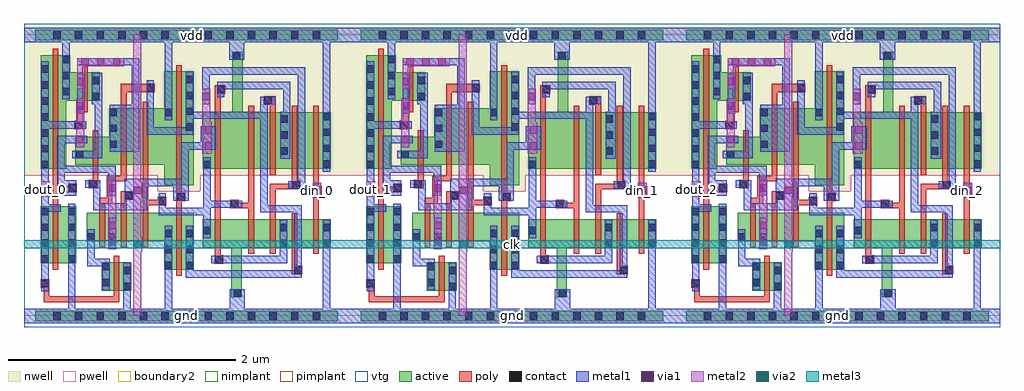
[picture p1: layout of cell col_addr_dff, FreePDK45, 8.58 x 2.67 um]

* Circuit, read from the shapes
.subckt col_addr_dff clk din_0 din_1 din_2 dout_0 dout_1 dout_2 gnd vdd
M1 gnd n1 dout_0 gnd nfet w=0.5u l=0.05u
M2 n1 n2 n3 gnd nfet w=0.25u l=0.05u
M3 gnd dout_0 n3 gnd nfet w=0.25u l=0.05u
M4 n4 clk n1 gnd nfet w=0.25u l=0.05u
M5 gnd n5 n4 gnd nfet w=0.25u l=0.05u
M6 n2 clk gnd gnd nfet w=0.5u l=0.05u
M7 gnd n6 n5 gnd nfet w=0.25u l=0.05u
M8 n7 n5 gnd gnd nfet w=0.25u l=0.05u
M9 n6 clk n7 gnd nfet w=0.25u l=0.05u
M10 n8 n2 n6 gnd nfet w=0.25u l=0.05u
M11 gnd din_0 n8 gnd nfet w=0.25u l=0.05u
M12 gnd n9 dout_1 gnd nfet w=0.5u l=0.05u
M13 n9 n10 n11 gnd nfet w=0.25u l=0.05u
M14 gnd dout_1 n11 gnd nfet w=0.25u l=0.05u
M15 n12 clk n9 gnd nfet w=0.25u l=0.05u
M16 gnd n13 n12 gnd nfet w=0.25u l=0.05u
M17 n10 clk gnd gnd nfet w=0.5u l=0.05u
M18 gnd n14 n13 gnd nfet w=0.25u l=0.05u
M19 n15 n13 gnd gnd nfet w=0.25u l=0.05u
M20 n14 clk n15 gnd nfet w=0.25u l=0.05u
M21 n16 n10 n14 gnd nfet w=0.25u l=0.05u
M22 gnd din_1 n16 gnd nfet w=0.25u l=0.05u
M23 gnd n17 dout_2 gnd nfet w=0.5u l=0.05u
M24 n17 n18 n19 gnd nfet w=0.25u l=0.05u
M25 gnd dout_2 n19 gnd nfet w=0.25u l=0.05u
M26 n20 clk n17 gnd nfet w=0.25u l=0.05u
M27 gnd n21 n20 gnd nfet w=0.25u l=0.05u
M28 n18 clk gnd gnd nfet w=0.5u l=0.05u
M29 gnd n22 n21 gnd nfet w=0.25u l=0.05u
M30 n23 n21 gnd gnd nfet w=0.25u l=0.05u
M31 n22 clk n23 gnd nfet w=0.25u l=0.05u
M32 n24 n18 n22 gnd nfet w=0.25u l=0.05u
M33 gnd din_2 n24 gnd nfet w=0.25u l=0.05u
M34 vdd n1 dout_0 vdd pfet w=1u l=0.05u
M35 n25 dout_0 vdd vdd pfet w=0.25u l=0.05u
M36 n1 clk n25 vdd pfet w=0.25u l=0.05u
M37 n26 n2 n1 vdd pfet w=0.5u l=0.05u
M38 vdd n5 n26 vdd pfet w=0.5u l=0.05u
M39 n2 clk vdd vdd pfet w=1u l=0.05u
M40 vdd n6 n5 vdd pfet w=0.5u l=0.05u
M41 n27 n5 vdd vdd pfet w=0.5u l=0.05u
M42 n6 n2 n27 vdd pfet w=0.5u l=0.05u
M43 n28 clk n6 vdd pfet w=0.5u l=0.05u
M44 vdd din_0 n28 vdd pfet w=0.5u l=0.05u
M45 vdd n9 dout_1 vdd pfet w=1u l=0.05u
M46 n29 dout_1 vdd vdd pfet w=0.25u l=0.05u
M47 n9 clk n29 vdd pfet w=0.25u l=0.05u
M48 n30 n10 n9 vdd pfet w=0.5u l=0.05u
M49 vdd n13 n30 vdd pfet w=0.5u l=0.05u
M50 n10 clk vdd vdd pfet w=1u l=0.05u
M51 vdd n14 n13 vdd pfet w=0.5u l=0.05u
M52 n31 n13 vdd vdd pfet w=0.5u l=0.05u
M53 n14 n10 n31 vdd pfet w=0.5u l=0.05u
M54 n32 clk n14 vdd pfet w=0.5u l=0.05u
M55 vdd din_1 n32 vdd pfet w=0.5u l=0.05u
M56 vdd n17 dout_2 vdd pfet w=1u l=0.05u
M57 n33 dout_2 vdd vdd pfet w=0.25u l=0.05u
M58 n17 clk n33 vdd pfet w=0.25u l=0.05u
M59 n34 n18 n17 vdd pfet w=0.5u l=0.05u
M60 vdd n21 n34 vdd pfet w=0.5u l=0.05u
M61 n18 clk vdd vdd pfet w=1u l=0.05u
M62 vdd n22 n21 vdd pfet w=0.5u l=0.05u
M63 n35 n21 vdd vdd pfet w=0.5u l=0.05u
M64 n22 n18 n35 vdd pfet w=0.5u l=0.05u
M65 n36 clk n22 vdd pfet w=0.5u l=0.05u
M66 vdd din_2 n36 vdd pfet w=0.5u l=0.05u
.ends

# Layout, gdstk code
import gdstk
lib = gdstk.Library(unit=1e-6, precision=5e-10)
def R(c, l, rs):  # rectangles x0, y0, x1, y1
    for r in rs: c.add(gdstk.rectangle(r[:2], r[2:], *l))
def A(c, l, x, y, w, h, nx, ny, dx, dy):  # array of equal rectangles
    R(c, l, [(x+i*dx, y+j*dy, x+i*dx+w, y+j*dy+h) for i in range(nx) for j in range(ny)])
def P(c, l, *ps):  # polygons
    for p in ps: c.add(gdstk.Polygon(p, *l))
active = (1, 0)
pwell = (2, 0)
nwell = (3, 0)
nimplant = (4, 0)
pimplant = (5, 0)
vtg = (6, 0)
poly = (9, 0)
contact = (10, 0)
metal1 = (11, 0)
via1 = (12, 0)
metal2 = (13, 0)
via2 = (14, 0)
metal3 = (15, 0)
boundary2 = (239, 0)

dff = lib.new_cell('dff')
A(dff, active, 1.9725, 0.6, 0.05, 0.25, 4, 1, 0.19, 0)
A(dff, active, 2.0225, 0.6, 0.14, 0.25, 3, 1, 0.19, 0)
A(dff, active, 0.6625, 0.6575, 0.05, 0.25, 3, 1, 0.19, 0)
A(dff, active, 1.9725, 1.2925, 0.05, 0.5, 4, 1, 0.19, 0)
A(dff, active, 2.0225, 1.2925, 0.14, 0.5, 3, 1, 0.19, 0)
R(dff, active, [(0.1,-0.045,2.76,0.045), (0.6825,0.2225,0.7875,0.4725), (0.7875,0.2225,0.8375,0.4725), (0.8375,0.2225,0.9425,0.4725), (1.3375,0.4075,1.3875,0.9075), (1.3875,0.4075,1.4925,0.9075), (0.1475,0.4625,0.2525,0.9625), (0.2525,0.4625,0.3025,0.9625), (0.3025,0.4625,0.4575,0.9625), (1.5725,0.6,1.6775,0.85), (1.6775,0.6,1.7275,0.85), (2.5925,0.6,2.6975,0.85), (0.5525,0.6575,0.6625,0.9075), (0.7125,0.6575,0.8525,0.9075), (0.9025,0.6575,1.0425,0.9075), (1.3375,1.15,1.3875,2.15), (1.3875,1.15,1.4925,2.15), (0.1475,1.2925,0.2525,2.2925), (0.2525,1.2925,0.3025,2.2925), (1.5725,1.2925,1.6775,1.7925), (1.6775,1.2925,1.7275,1.7925), (2.5925,1.2925,2.6975,1.7925), (0.4525,1.3275,0.6025,1.5775), (0.6025,1.3275,0.6525,1.5775), (0.8525,1.3275,0.9025,1.8275), (0.9025,1.3275,1.0425,1.8275), (1.0425,1.3275,1.0925,1.8275), (0.5125,1.8925,0.5625,2.1425), (0.5625,1.8925,0.6675,2.1425), (0.1,2.425,2.76,2.515)])
P(dff, active, [(1.7275,1.2925),(1.9725,1.2925),(1.9725,1.7925),(1.9225,1.7925),(1.9225,2.3225),(1.8325,2.3225),(1.8325,1.7925),(1.7275,1.7925)],
  [(1.0925,1.3275),(1.2325,1.3275),(1.2325,1.15),(1.3375,1.15),(1.3375,2.15),(1.2325,2.15),(1.2325,1.8275),(1.0925,1.8275)],
  [(0.6525,1.3275),(0.8525,1.3275),(0.8525,1.8275),(0.7475,1.8275),(0.7475,1.5775),(0.6525,1.5775)],
  [(0.3025,1.2925),(0.3725,1.2925),(0.3725,1.8925),(0.5125,1.8925),(0.5125,2.1425),(0.4075,2.1425),(0.4075,2.2925),(0.3025,2.2925)],
  [(1.7275,0.6),(1.8225,0.6),(1.8225,0.165),(1.9125,0.165),(1.9125,0.6),(1.9725,0.6),(1.9725,0.85),(1.7275,0.85)],
  [(1.0925,0.6575),(1.2325,0.6575),(1.2325,0.4075),(1.3375,0.4075),(1.3375,0.9075),(1.0925,0.9075)])
P(dff, pwell, [(0,-0.1),(2.86,-0.1),(2.86,1.235),(1.5475,1.235),(1.5475,1.095),(1.1775,1.095),(1.1775,1.235),(0,1.235)])
P(dff, nwell, [(0,1.235),(1.1775,1.235),(1.1775,1.095),(1.5475,1.095),(1.5475,1.235),(2.86,1.235),(2.86,2.57),(0,2.57)])
A(dff, nimplant, 1.9725, 0.6, 0.05, 0.25, 4, 1, 0.19, 0)
A(dff, nimplant, 2.0225, 0.6, 0.14, 0.25, 3, 1, 0.19, 0)
A(dff, nimplant, 0.6625, 0.6575, 0.05, 0.25, 3, 1, 0.19, 0)
R(dff, nimplant, [(0.6825,0.2225,0.7875,0.4725), (0.7875,0.2225,0.8375,0.4725), (0.8375,0.2225,0.9425,0.4725), (1.3375,0.4075,1.3875,0.9075), (1.3875,0.4075,1.4925,0.9075), (0.1475,0.4625,0.2525,0.9625), (0.2525,0.4625,0.3025,0.9625), (0.3025,0.4625,0.4575,0.9625), (1.5725,0.6,1.6775,0.85), (1.6775,0.6,1.7275,0.85), (2.5925,0.6,2.6975,0.85), (0.5525,0.6575,0.6625,0.9075), (0.7125,0.6575,0.8525,0.9075), (0.9025,0.6575,1.0425,0.9075), (0.1,2.425,2.76,2.515)])
P(dff, nimplant, [(1.7275,0.6),(1.8225,0.6),(1.8225,0.165),(1.9125,0.165),(1.9125,0.6),(1.9725,0.6),(1.9725,0.85),(1.7275,0.85)],
  [(1.0925,0.6575),(1.2325,0.6575),(1.2325,0.4075),(1.3375,0.4075),(1.3375,0.9075),(1.0925,0.9075)])
A(dff, pimplant, 1.9725, 1.2925, 0.05, 0.5, 4, 1, 0.19, 0)
A(dff, pimplant, 2.0225, 1.2925, 0.14, 0.5, 3, 1, 0.19, 0)
R(dff, pimplant, [(0.1,-0.045,2.76,0.045), (1.3375,1.15,1.3875,2.15), (1.3875,1.15,1.4925,2.15), (0.1475,1.2925,0.2525,2.2925), (0.2525,1.2925,0.3025,2.2925), (1.5725,1.2925,1.6775,1.7925), (1.6775,1.2925,1.7275,1.7925), (2.5925,1.2925,2.6975,1.7925), (0.4525,1.3275,0.6025,1.5775), (0.6025,1.3275,0.6525,1.5775), (0.8525,1.3275,0.9025,1.8275), (0.9025,1.3275,1.0425,1.8275), (1.0425,1.3275,1.0925,1.8275), (0.5125,1.8925,0.5625,2.1425), (0.5625,1.8925,0.6675,2.1425)])
P(dff, pimplant, [(1.7275,1.2925),(1.9725,1.2925),(1.9725,1.7925),(1.9225,1.7925),(1.9225,2.3225),(1.8325,2.3225),(1.8325,1.7925),(1.7275,1.7925)],
  [(1.0925,1.3275),(1.2325,1.3275),(1.2325,1.15),(1.3375,1.15),(1.3375,2.15),(1.2325,2.15),(1.2325,1.8275),(1.0925,1.8275)],
  [(0.6525,1.3275),(0.8525,1.3275),(0.8525,1.8275),(0.7475,1.8275),(0.7475,1.5775),(0.6525,1.5775)],
  [(0.3025,1.2925),(0.3725,1.2925),(0.3725,1.8925),(0.5125,1.8925),(0.5125,2.1425),(0.4075,2.1425),(0.4075,2.2925),(0.3025,2.2925)])
R(dff, vtg, [(0,-0.1,2.86,2.57)])
A(dff, poly, 1.9725, 0.6, 0.05, 0.25, 4, 1, 0.19, 0)
A(dff, poly, 0.6625, 0.6025, 0.05, 0.055, 3, 1, 0.19, 0)
A(dff, poly, 0.6625, 0.6575, 0.05, 0.25, 3, 1, 0.19, 0)
A(dff, poly, 1.9725, 1.2925, 0.05, 0.5, 4, 1, 0.19, 0)
R(dff, poly, [(0.7875,0.2225,0.8375,0.4725), (1.3375,0.3525,1.3875,0.4075), (0.2525,0.4075,0.3025,0.4625), (1.3375,0.4075,1.3875,0.9075), (0.2525,0.4625,0.3025,0.9625), (0.7875,0.4725,0.8375,0.5275), (1.9725,0.545,2.0225,0.6), (2.1625,0.545,2.2125,0.6), (2.5425,0.545,2.5925,0.6), (1.6775,0.6,1.7275,0.85), (1.6775,0.85,1.7275,1.2925), (2.3525,0.85,2.4025,0.905), (1.3375,1.15,1.3875,2.15), (2.1625,1.2375,2.2125,1.2925), (0.2525,1.2925,0.3025,2.2925), (1.6775,1.2925,1.7275,1.7925), (0.6025,1.3275,0.6525,1.5775), (0.8525,1.3275,0.9025,1.8275), (1.0425,1.3275,1.0925,1.8275), (0.6025,1.5775,0.6525,1.6325), (1.9725,1.7925,2.0225,1.8475), (2.3525,1.7925,2.4025,1.8475), (2.5425,1.7925,2.5925,1.8475), (1.0425,1.8275,1.0925,1.8825), (0.5125,1.8925,0.5625,2.1425), (0.5125,2.1425,0.5625,2.1975), (1.3375,2.15,1.3875,2.205), (0.2525,2.2925,0.3025,2.3475)])
P(dff, poly, [(2.5425,0.85),(2.5925,0.85),(2.5925,1.0675),(2.6175,1.0675),(2.6175,1.1425),(2.5925,1.1425),(2.5925,1.2925),(2.5425,1.2925)],
  [(2.3525,0.365),(2.4475,0.365),(2.4475,0.44),(2.4025,0.44),(2.4025,0.6),(2.3525,0.6)],
  [(2.1075,1.8575),(2.1625,1.8575),(2.1625,1.7925),(2.2125,1.7925),(2.2125,1.9325),(2.1075,1.9325)],
  [(2.1625,0.85),(2.2125,0.85),(2.2125,1.1125),(2.4275,1.1125),(2.4275,1.1875),(2.4025,1.1875),(2.4025,1.2925),(2.3525,1.2925),(2.3525,1.1625),(2.1625,1.1625)],
  [(1.8125,0.945),(1.9725,0.945),(1.9725,0.85),(2.0225,0.85),(2.0225,1.2925),(1.9725,1.2925),(1.9725,0.995),(1.8875,0.995),(1.8875,1.02),(1.8125,1.02)],
  [(1.6775,1.7925),(1.7275,1.7925),(1.7275,1.9525),(1.7675,1.9525),(1.7675,2.0275),(1.6775,2.0275)],
  [(1.6775,0.46),(1.7525,0.46),(1.7525,0.535),(1.7275,0.535),(1.7275,0.6),(1.6775,0.6)],
  [(1.3375,0.9075),(1.3875,0.9075),(1.3875,1.01),(1.4175,1.01),(1.4175,1.085),(1.3875,1.085),(1.3875,1.15),(1.3375,1.15)],
  [(1.0425,0.9075),(1.0925,0.9075),(1.0925,0.9725),(1.2525,0.9725),(1.2525,1.0475),(1.1775,1.0475),(1.1775,1.0225),(1.0925,1.0225),(1.0925,1.3275),(1.0425,1.3275)],
  [(0.8525,1.8275),(0.9025,1.8275),(0.9025,1.9675),(1.1475,1.9675),(1.1475,2.0425),(0.8525,2.0425)],
  [(0.8525,0.9075),(0.9025,0.9075),(0.9025,1.0225),(0.9575,1.0225),(0.9575,1.0975),(0.8525,1.0975)],
  [(0.4425,1.6425),(0.5175,1.6425),(0.5175,1.7925),(0.5625,1.7925),(0.5625,1.8925),(0.5125,1.8925),(0.5125,1.8425),(0.4675,1.8425),(0.4675,1.7175),(0.4425,1.7175)],
  [(0.5675,1.1225),(0.6525,1.1225),(0.6525,1.3275),(0.6025,1.3275),(0.6025,1.1975),(0.5675,1.1975)],
  [(0.1475,0.2475),(0.1725,0.2475),(0.1725,0.1225),(0.8375,0.1225),(0.8375,0.2225),(0.7875,0.2225),(0.7875,0.1725),(0.2225,0.1725),(0.2225,0.3225),(0.1475,0.3225)],
  [(0.6625,0.9075),(0.7125,0.9075),(0.7125,0.9875),(0.7775,0.9875),(0.7775,1.1825),(0.9025,1.1825),(0.9025,1.3275),(0.8525,1.3275),(0.8525,1.2325),(0.7275,1.2325),(0.7275,1.0375),(0.6625,1.0375)],
  [(0.2525,0.9625),(0.3025,0.9625),(0.3025,1.0875),(0.4625,1.0875),(0.4625,1.1625),(0.3875,1.1625),(0.3875,1.1375),(0.3025,1.1375),(0.3025,1.2925),(0.2525,1.2925)])
A(dff, contact, 0.2575, -0.0325, 0.065, 0.065, 13, 2, 0.19, 2.47)
A(dff, contact, 1.2375, 0.4125, 0.065, 0.065, 1, 3, 0, 0.14)
A(dff, contact, 1.4225, 0.4125, 0.065, 0.065, 1, 3, 0, 0.14)
A(dff, contact, 0.1525, 0.4675, 0.065, 0.065, 1, 4, 0, 0.14)
A(dff, contact, 0.3875, 0.4675, 0.065, 0.065, 1, 4, 0, 0.14)
A(dff, contact, 0.1525, 1.2975, 0.065, 0.065, 1, 7, 0, 0.14)
A(dff, contact, 2.6275, 1.3025, 0.065, 0.065, 1, 4, 0, 0.14)
A(dff, contact, 2.2525, 1.4175, 0.065, 0.065, 1, 3, 0, 0.14)
A(dff, contact, 0.7525, 1.4775, 0.065, 0.065, 1, 3, 0, 0.14)
A(dff, contact, 1.4225, 1.6275, 0.065, 0.065, 1, 4, 0, 0.14)
A(dff, contact, 0.3375, 1.9425, 0.065, 0.065, 1, 3, 0, 0.14)
R(dff, contact, [(1.8425,0.17,1.9075,0.235), (0.8725,0.2275,0.9375,0.2925), (0.1525,0.2525,0.2175,0.3175), (0.6875,0.2625,0.7525,0.3275), (0.8725,0.3675,0.9375,0.4325), (2.3775,0.37,2.4425,0.435), (0.6875,0.4025,0.7525,0.4675), (1.6825,0.465,1.7475,0.53), (2.2475,0.605,2.3125,0.67), (2.6275,0.605,2.6925,0.67), (0.5575,0.6625,0.6225,0.7275), (0.7475,0.6625,0.8125,0.7275), (1.5775,0.72,1.6425,0.785), (2.2475,0.745,2.3125,0.81), (2.6275,0.745,2.6925,0.81), (1.8175,0.95,1.8825,1.015), (1.1825,0.9775,1.2475,1.0425), (1.3475,1.015,1.4125,1.08), (0.8875,1.0275,0.9525,1.0925), (2.5475,1.0725,2.6125,1.1375), (0.3925,1.0925,0.4575,1.1575), (2.3575,1.1175,2.4225,1.1825), (0.5725,1.1275,0.6375,1.1925), (1.5775,1.2975,1.6425,1.3625), (0.4575,1.3875,0.5225,1.4525), (0.4475,1.6475,0.5125,1.7125), (1.2375,1.7575,1.3025,1.8225), (2.1125,1.8625,2.1775,1.9275), (0.5975,1.8975,0.6625,1.9625), (1.6975,1.9575,1.7625,2.0225), (1.0775,1.9725,1.1425,2.0375), (0.5975,2.0375,0.6625,2.1025), (1.8375,2.2525,1.9025,2.3175)])
R(dff, metal1, [(0,-0.065,2.86,0.065), (0,-0.065,2.86,0.065), (0.7475,0.5875,0.8125,0.8625), (0.1525,0.915,0.2175,1.1275), (0.8875,0.9275,1.0825,1.2075), (2.5375,1.0375,2.615,1.1725), (0.15,1.0475,0.2275,1.1825), (0.4675,1.7775,0.5325,2.1275), (0.1,2.405,2.86,2.535), (0.1,2.405,2.86,2.535)])
P(dff, metal1, [(0,2.405),(0.3375,2.405),(0.3375,1.9075),(0.4025,1.9075),(0.4025,2.405),(1.2375,2.405),(1.2375,1.7225),(1.3025,1.7225),(1.3025,2.405),(1.8025,2.405),(1.8025,2.2525),(1.9375,2.2525),(1.9375,2.405),(2.6275,2.405),(2.6275,1.2675),(2.6925,1.2675),(2.6925,2.405),(2.76,2.405),(2.76,2.535),(0,2.535)],
  [(0.1,-0.065),(2.76,-0.065),(2.76,0.065),(2.6925,0.065),(2.6925,0.845),(2.6275,0.845),(2.6275,0.065),(1.9425,0.065),(1.9425,0.235),(1.8075,0.235),(1.8075,0.065),(1.3025,0.065),(1.3025,0.7925),(1.2375,0.7925),(1.2375,0.065),(0.9375,0.065),(0.9375,0.4675),(0.8725,0.4675),(0.8725,0.065),(0.4525,0.065),(0.4525,0.9875),(0.3875,0.9875),(0.3875,0.065),(0.1,0.065)],
  [(1.0775,1.5925),(1.4875,1.5925),(1.4875,1.7325),(2.0775,1.7325),(2.0775,0.91),(2.3775,0.91),(2.3775,0.4),(1.4875,0.4),(1.4875,0.7925),(1.4225,0.7925),(1.4225,0.335),(2.4425,0.335),(2.4425,0.975),(2.1425,0.975),(2.1425,1.8625),(2.2125,1.8625),(2.2125,1.9275),(2.0775,1.9275),(2.0775,1.7975),(1.4875,1.7975),(1.4875,2.1475),(1.4225,2.1475),(1.4225,1.6575),(1.1425,1.6575),(1.1425,2.0725),(1.0775,2.0725)],
  [(0.5375,1.1275),(0.6075,1.1275),(0.6075,0.9275),(1.0825,0.9275),(1.0825,1.1425),(1.3125,1.1425),(1.3125,1.015),(1.4475,1.015),(1.4475,1.4625),(1.6875,1.4625),(1.6875,1.6675),(1.5525,1.6675),(1.5525,1.5275),(1.3825,1.5275),(1.3825,1.2075),(0.8875,1.2075),(0.8875,0.9925),(0.6725,0.9925),(0.6725,1.1925),(0.5375,1.1925)],
  [(1.5675,1.8625),(1.6325,1.8625),(1.6325,2.1225),(2.4075,2.1225),(2.4075,1.1825),(2.3225,1.1825),(2.3225,1.1175),(2.4725,1.1175),(2.4725,2.1875),(1.5675,2.1875)],
  [(1.6975,1.9225),(1.7625,1.9225),(1.7625,1.9925),(2.2775,1.9925),(2.2775,1.7975),(2.2525,1.7975),(2.2525,1.3825),(2.3425,1.3825),(2.3425,2.0575),(1.6975,2.0575)],
  [(1.6475,0.465),(2.3125,0.465),(2.3125,0.845),(2.2475,0.845),(2.2475,0.53),(1.6475,0.53)],
  [(1.1825,0.885),(1.5775,0.885),(1.5775,0.685),(1.6425,0.685),(1.6425,0.95),(1.9175,0.95),(1.9175,1.015),(1.6425,1.015),(1.6425,1.3975),(1.5775,1.3975),(1.5775,0.95),(1.2475,0.95),(1.2475,1.0775),(1.1825,1.0775)],
  [(0.4675,2.2025),(0.9475,2.2025),(0.9475,1.8575),(0.7525,1.8575),(0.7525,1.4425),(1.0125,1.4425),(1.0125,2.2675),(0.4675,2.2675)],
  [(0.2925,1.0575),(0.4575,1.0575),(0.4575,1.1925),(0.3575,1.1925),(0.3575,1.2575),(0.7425,1.2575),(0.7425,1.0575),(0.8075,1.0575),(0.8075,1.3225),(0.3575,1.3225),(0.3575,1.5175),(0.5575,1.5175),(0.5575,1.5825),(0.2925,1.5825)],
  [(0.4225,1.3875),(0.6875,1.3875),(0.6875,2.1375),(0.5975,2.1375),(0.5975,1.8625),(0.6225,1.8625),(0.6225,1.4525),(0.4225,1.4525)],
  [(0.1525,0.2175),(0.2175,0.2175),(0.2175,0.9175),(0.3225,0.9175),(0.3225,0.9825),(0.2175,0.9825),(0.2175,1.6475),(0.5475,1.6475),(0.5475,1.7125),(0.2175,1.7125),(0.2175,2.2375),(0.1525,2.2375)],
  [(0.5575,0.4375),(0.6875,0.4375),(0.6875,0.2275),(0.7525,0.2275),(0.7525,0.5025),(0.6225,0.5025),(0.6225,0.7625),(0.5575,0.7625)])
A(dff, via1, 0.5025, 2.2025, 0.065, 0.065, 3, 1, 0.14, 0)
R(dff, via1, [(0.7475,0.6225,0.8125,0.6875), (0.7475,0.7625,0.8125,0.8275), (0.97,1.0725,1.035,1.1375), (2.5475,1.0725,2.6125,1.1375), (0.155,1.0825,0.22,1.1475), (0.7425,1.0925,0.8075,1.1575), (1.5875,1.4625,1.6525,1.5275), (0.4575,1.5175,0.5225,1.5825), (1.5875,1.6025,1.6525,1.6675), (0.4675,1.8125,0.5325,1.8775), (1.5675,1.8975,1.6325,1.9625), (0.4675,2.0275,0.5325,2.0925)])
R(dff, metal2, [(0.7425,0.5875,0.8125,1.1925), (0.9625,1.0375,1.04,1.1725), (0.9625,1.0375,1.04,1.1725), (2.5375,1.0375,2.615,1.1725), (2.5375,1.0375,2.615,1.1725), (0.15,1.0475,0.2275,1.1825), (0.15,1.0475,0.2275,1.1825)])
P(dff, metal2, [(1.5675,1.4275),(1.6525,1.4275),(1.6525,1.7025),(1.6375,1.7025),(1.6375,1.9975),(1.5675,1.9975)],
  [(0.4675,1.9925),(0.5375,1.9925),(0.5375,2.1975),(0.8825,2.1975),(0.8825,2.2675),(0.4675,2.2675)],
  [(0.4575,1.4825),(0.5275,1.4825),(0.5275,1.7775),(0.5325,1.7775),(0.5325,1.9125),(0.4575,1.9125)])
R(dff, boundary2, [(0,0,2.86,2.475)])
dff.add(gdstk.Label('clk', (0.995,1.15), layer=13, texttype=0))
dff.add(gdstk.Label('D', (2.565,1.15), layer=13, texttype=0))
dff.add(gdstk.Label('Q', (0.175,1.1), layer=13, texttype=0))
dff.add(gdstk.Label('gnd', (1.215,0.0425), layer=11, texttype=0))
dff.add(gdstk.Label('vdd', (0.825,2.5325), layer=11, texttype=0))
dff.add(gdstk.Label('D', (2.576,1.105), layer=13, texttype=0))
dff.add(gdstk.Label('Q', (0.189,1.115), layer=13, texttype=0))
dff.add(gdstk.Label('clk', (1.001,1.105), layer=13, texttype=0))
dff.add(gdstk.Label('vdd', (1.48,2.47), layer=11, texttype=0))
dff.add(gdstk.Label('gnd', (1.43,0), layer=11, texttype=0))

contact_5 = lib.new_cell('contact_5')
R(contact_5, metal1, [(0,0.0025,0.135,0.0675)])
R(contact_5, via1, [(0.035,0.0025,0.1,0.0675)])
R(contact_5, metal2, [(0,0,0.135,0.07)])

contact_6 = lib.new_cell('contact_6')
R(contact_6, metal2, [(0,0,0.135,0.07)])
R(contact_6, via2, [(0.035,0.0025,0.1,0.0675)])
R(contact_6, metal3, [(0,0,0.135,0.07)])

contact_7 = lib.new_cell('contact_7')
R(contact_7, metal2, [(0.0325,0,0.1025,0.135)])
R(contact_7, via2, [(0.035,0.035,0.1,0.1)])
R(contact_7, metal3, [(0,0.0325,0.135,0.1025)])

col_addr_dff = lib.new_cell('col_addr_dff')
A(col_addr_dff, metal2, 0.9625, 0, 0.07, 2.475, 3, 1, 2.86, 0)
A(col_addr_dff, metal2, 2.5375, 1.0375, 0.0775, 0.135, 3, 1, 2.86, 0)
A(col_addr_dff, metal2, 0.15, 1.0475, 0.0775, 0.135, 3, 1, 2.86, 0)
A(col_addr_dff, metal3, 1.3625, -0.035, 0.135, 0.07, 3, 1, 2.86, 0)
A(col_addr_dff, metal3, 1.4125, 2.435, 0.135, 0.07, 3, 1, 2.86, 0)
R(col_addr_dff, metal3, [(0,0.595,8.58,0.665)])
R(col_addr_dff, boundary2, [(0,0,8.58,2.475)])
col_addr_dff.add(gdstk.Reference(dff, (0,0)))
col_addr_dff.add(gdstk.Reference(dff, (2.86,0)))
col_addr_dff.add(gdstk.Reference(dff, (5.72,0)))
col_addr_dff.add(gdstk.Reference(contact_5, (1.4125,2.435)))
col_addr_dff.add(gdstk.Reference(contact_6, (1.4125,2.435)))
col_addr_dff.add(gdstk.Reference(contact_5, (1.3625,-0.035)))
col_addr_dff.add(gdstk.Reference(contact_6, (1.3625,-0.035)))
col_addr_dff.add(gdstk.Reference(contact_5, (4.2725,2.435)))
col_addr_dff.add(gdstk.Reference(contact_6, (4.2725,2.435)))
col_addr_dff.add(gdstk.Reference(contact_5, (4.2225,-0.035)))
col_addr_dff.add(gdstk.Reference(contact_6, (4.2225,-0.035)))
col_addr_dff.add(gdstk.Reference(contact_5, (7.1325,2.435)))
col_addr_dff.add(gdstk.Reference(contact_6, (7.1325,2.435)))
col_addr_dff.add(gdstk.Reference(contact_5, (7.0825,-0.035)))
col_addr_dff.add(gdstk.Reference(contact_6, (7.0825,-0.035)))
col_addr_dff.add(gdstk.Reference(contact_7, (0.935,0.5625)))
col_addr_dff.add(gdstk.Reference(contact_7, (3.795,0.5625)))
col_addr_dff.add(gdstk.Reference(contact_7, (6.655,0.5625)))
col_addr_dff.add(gdstk.Label('vdd', (4.34,2.47), layer=15, texttype=0))
col_addr_dff.add(gdstk.Label('vdd', (7.2,2.47), layer=15, texttype=0))
col_addr_dff.add(gdstk.Label('vdd', (1.48,2.47), layer=15, texttype=0))
col_addr_dff.add(gdstk.Label('gnd', (1.43,0), layer=15, texttype=0))
col_addr_dff.add(gdstk.Label('gnd', (7.15,0), layer=15, texttype=0))
col_addr_dff.add(gdstk.Label('gnd', (4.29,0), layer=15, texttype=0))
col_addr_dff.add(gdstk.Label('din_0', (2.576,1.105), layer=13, texttype=0))
col_addr_dff.add(gdstk.Label('dout_0', (0.189,1.115), layer=13, texttype=0))
col_addr_dff.add(gdstk.Label('din_1', (5.436,1.105), layer=13, texttype=0))
col_addr_dff.add(gdstk.Label('dout_1', (3.049,1.115), layer=13, texttype=0))
col_addr_dff.add(gdstk.Label('din_2', (8.296,1.105), layer=13, texttype=0))
col_addr_dff.add(gdstk.Label('dout_2', (5.9085,1.115), layer=13, texttype=0))
col_addr_dff.add(gdstk.Label('clk', (4.29,0.63), layer=15, texttype=0))

lib.write_gds('col_addr_dff.gds')
